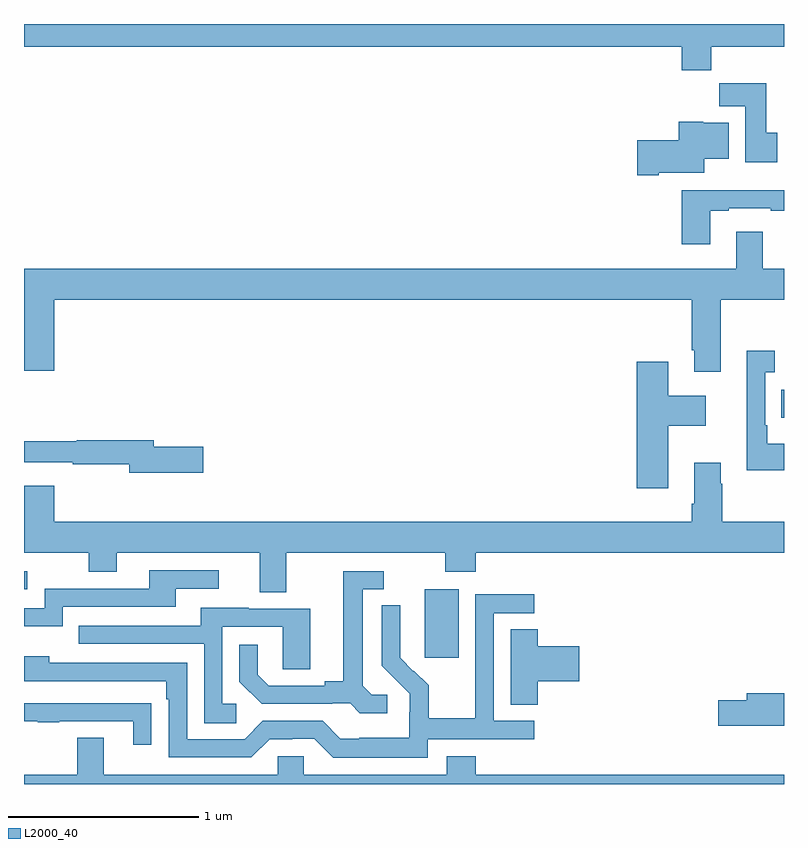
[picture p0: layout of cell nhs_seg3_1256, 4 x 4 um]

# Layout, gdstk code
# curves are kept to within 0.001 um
import gdstk
lib = gdstk.Library(unit=1e-6, precision=1e-09)
def R(c, l, rs):  # rectangles x0, y0, x1, y1
    for r in rs: c.add(gdstk.rectangle(r[:2], r[2:], *l))
def P(c, l, *ps):  # polygons
    for p in ps: c.add(gdstk.Polygon(p, *l))
L2000_40 = (2000, 40)

nhs_seg3_1256 = lib.new_cell('nhs_seg3_1256')
R(nhs_seg3_1256, L2000_40, [(179.108,667.065,179.287,667.426), (177,667.425,177.016,667.521), (180.985,668.327,181,668.475)])
P(nhs_seg3_1256, L2000_40, [(180.617,670.28),(181,670.28),(181,670.4),(177,670.4),(177,670.28),(180.461,670.28),(180.461,670.156),(180.617,670.156)],
  [(180.964,669.828),(180.907,669.828),(180.907,670.087),(180.658,670.087),(180.658,669.968),(180.797,669.968),(180.797,669.672),(180.964,669.672)],
  [(180.34,669.617),(180.58,669.617),(180.58,669.692),(180.709,669.692),(180.709,669.88),(180.576,669.88),(180.576,669.886),(180.446,669.886),(180.446,669.788),(180.228,669.788),(180.228,669.605),(180.34,669.605)],
  [(180.613,669.417),(180.709,669.417),(180.709,669.429),(180.929,669.429),(180.929,669.417),(181,669.417),(181,669.526),(180.461,669.526),(180.461,669.24),(180.613,669.24)],
  [(180.667,668.948),(181,668.948),(181,669.112),(180.889,669.112),(180.889,669.307),(180.749,669.307),(180.749,669.112),(177,669.112),(177,668.574),(177.16,668.574),(177.16,668.948),(180.515,668.948),(180.515,668.683),(180.527,668.683),(180.527,668.571),(180.667,668.571)],
  [(181,668.191),(180.913,668.191),(180.913,668.287),(180.9,668.287),(180.9,668.567),(180.952,668.567),(180.952,668.68),(180.803,668.68),(180.803,668.051),(181,668.051)],
  [(180.391,668.285),(180.589,668.285),(180.589,668.443),(180.391,668.443),(180.391,668.623),(180.224,668.623),(180.224,667.956),(180.391,667.956)],
  [(177.943,668.174),(177.682,668.174),(177.682,668.21),(177.278,668.21),(177.278,668.203),(177,668.203),(177,668.094),(177.256,668.094),(177.256,668.082),(177.554,668.082),(177.554,668.039),(177.943,668.039)],
  [(178.381,667.616),(179.218,667.616),(179.218,667.517),(179.378,667.517),(179.378,667.616),(181,667.616),(181,667.78),(180.675,667.78),(180.675,667.979),(180.667,667.979),(180.667,668.092),(180.527,668.092),(180.527,667.876),(180.515,667.876),(180.515,667.78),(177.16,667.78),(177.16,667.969),(177,667.969),(177,667.616),(177.34,667.616),(177.34,667.517),(177.487,667.517),(177.487,667.616),(178.241,667.616),(178.241,667.408),(178.381,667.408)],
  [(177.204,667.332),(177.799,667.332),(177.799,667.428),(178.024,667.428),(178.024,667.524),(177.659,667.524),(177.659,667.428),(177.108,667.428),(177.108,667.326),(177,667.326),(177,667.229),(177.204,667.229)],
  [(178.912,666.87),(178.83,666.87),(178.783,666.917),(178.783,667.425),(178.894,667.425),(178.894,667.521),(178.679,667.521),(178.679,666.941),(178.583,666.941),(178.583,666.918),(178.288,666.918),(178.231,666.975),(178.231,667.132),(178.134,667.132),(178.134,666.938),(178.25,666.822),(178.622,666.822),(178.622,666.825),(178.716,666.825),(178.768,666.773),(178.912,666.773)],
  [(179.124,666.636),(179.686,666.636),(179.686,666.732),(179.472,666.732),(179.472,667.299),(179.686,667.299),(179.686,667.398),(179.376,667.398),(179.376,666.968),(179.374,666.968),(179.374,666.745),(179.129,666.745),(179.129,666.919),(179.052,666.996),(179.049,666.993),(178.979,667.064),(178.98,667.34),(178.884,667.34),(178.884,667.022),(179.03,666.874),(179.03,666.777),(179.028,666.777),(179.028,666.643),(178.765,666.643),(178.765,666.639),(178.665,666.639),(178.572,666.732),(178.257,666.732),(178.161,666.636),(177.858,666.636),(177.858,667.038),(177.134,667.038),(177.134,667.072),(177,667.072),(177,666.942),(177.749,666.942),(177.749,666.845),(177.762,666.845),(177.762,666.54),(178.197,666.54),(178.293,666.636),(178.412,666.636),(178.412,666.639),(178.527,666.639),(178.627,666.539),(179.124,666.539)],
  [(178.117,666.822),(178.044,666.822),(178.044,667.227),(178.362,667.227),(178.362,667.003),(178.507,667.003),(178.507,667.323),(178.183,667.323),(178.183,667.327),(177.929,667.327),(177.929,667.233),(177.289,667.233),(177.289,667.137),(177.948,667.137),(177.948,666.721),(178.117,666.721)],
  [(179.705,666.941),(179.923,666.941),(179.923,667.124),(179.705,667.124),(179.705,667.214),(179.561,667.214),(179.561,666.817),(179.705,666.817)],
  [(181,666.878),(180.803,666.878),(180.803,666.842),(180.654,666.842),(180.654,666.707),(181,666.707)],
  [(177.671,666.824),(177.569,666.824),(177.569,666.825),(177,666.825),(177,666.729),(177.073,666.729),(177.073,666.724),(177.185,666.724),(177.185,666.729),(177.575,666.729),(177.575,666.606),(177.671,666.606)],
  [(181,666.448),(179.378,666.448),(179.378,666.547),(179.225,666.547),(179.225,666.448),(178.473,666.448),(178.473,666.546),(178.335,666.546),(178.335,666.448),(177.421,666.448),(177.421,666.643),(177.281,666.643),(177.281,666.448),(177,666.448),(177,666.4),(181,666.4)])

lib.write_gds('nhs_seg3_1256.gds')
